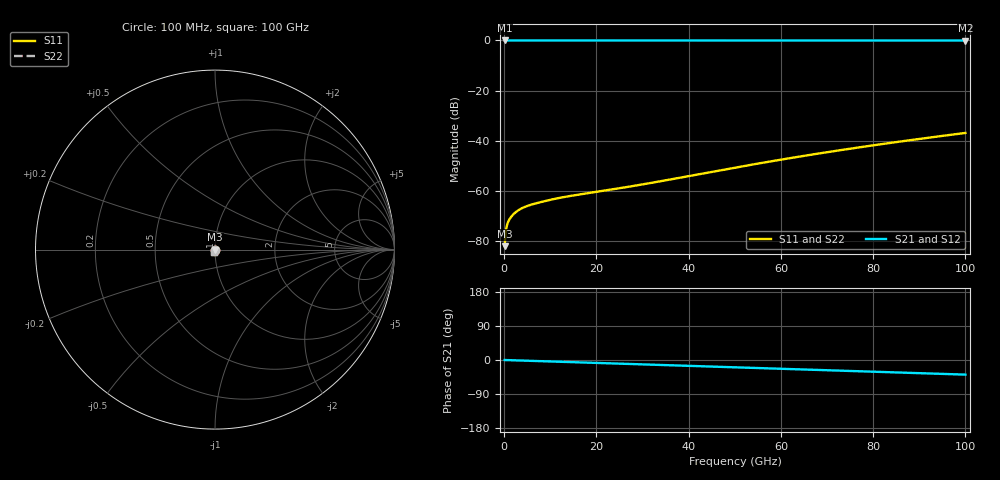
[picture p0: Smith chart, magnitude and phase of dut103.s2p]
! Touchstone file exported from HFSS 2026.1.0
!  File:  C:/ffzhzh/LocalFiles/Ansys_Project_Files/temp_train_TSV_103_1783505806_41296.aedt
!  Generated:  06:18:01 PM Jul  8, 2026
!  Design:  TSV
!  Project:  temp_train_TSV_103_1783505806_41296
! Variables:
!  h_bsmrdl = 2um
!  h_ox = 20um
!  h_rdl = 5um
!  h_sub = 73.85um
!  h_tmrdl = 5um
!  h_tsv = 73.85um
!  h_via = 3um
!  l_bsmrdl = 300um
!  l_sub = 428.56um
!  l_tmrdl = 200um
!  m_sub = 200um
!  pitch = 56.56um
!  r_tsv = 14.28um
!  s_tmrdl = 10um
!  w_bsmrdl = 18um
!  w_sub = 500um
!  w_tmrdl = 12um
!  x_tsv_center1 = 206um
!  x_tsv_center2 = 524um
!  x_tsv_center3 = 736um
!  x_tsv_center4 = 1054um
!  x_tsv_center5 = 1266um
!  x_tsv_center6 = 1584um
# GHz S MA R 50.000000
! Terminal data exported
! Port[1] = TSV1_1_T1
! Port[2] = TSV1_1_T2
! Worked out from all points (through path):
!   1000 points, 100 MHz to 100 GHz, reference 50 ohm
!   highest |S21| = 0.00 dB at 100 MHz (marker M1); lowest = 0.0 dB at 100 GHz (marker M2)
!   group delay of S21, straight-line fit = 1.07 ps
!   lowest |S11| = -81.9 dB at 100 MHz (marker M3), VSWR 1.00, Z = 50 + j0.00366 ohm
!   |S11| at or under -10 dB: start of sweep to end of sweep
!   |S22| runs from -81.9 to -36.8 dB; largest |S21 - S12| = 2.8e-15
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0.1  8.004e-05 27.2  0.9999 -0.0  0.9999 -0.0  8.004e-05 27.2
! Gamma 0 0 0 0
! Port Impedance 50 0 50 0
0.4  0.000166 41.9  0.9999 -0.2  0.9999 -0.2  0.000166 41.9
0.8  0.0002366 37.6  0.9998 -0.3  0.9998 -0.3  0.0002365 37.6
1  0.0002596 36.1  0.9998 -0.4  0.9998 -0.4  0.0002595 36.1
1.2  0.0002793 35.0  0.9998 -0.5  0.9998 -0.5  0.0002792 35.1
1.6  0.0003138 33.6  0.9997 -0.6  0.9997 -0.6  0.0003138 33.6
2.2  0.0003594 31.6  0.9997 -0.9  0.9997 -0.9  0.0003593 31.7
2.8  0.000399 29.5  0.9997 -1.1  0.9997 -1.1  0.0003989 29.5
3.5  0.0004384 27.0  0.9996 -1.4  0.9996 -1.4  0.0004383 27.0
4.3  0.0004763 24.1  0.9996 -1.7  0.9996 -1.7  0.0004761 24.1
5.3  0.0005161 20.8  0.9995 -2.0  0.9995 -2.0  0.0005158 20.8
8.2  0.0006125 12.1  0.9994 -3.2  0.9994 -3.2  0.000612 12.1
12.1  0.000735 0.7  0.9993 -4.7  0.9993 -4.7  0.0007336 0.7
16.8  0.0008702 -12.3  0.9991 -6.5  0.9991 -6.5  0.0008675 -12.3
25.8  0.001171 -35.2  0.9989 -9.9  0.9989 -9.9  0.001165 -35.3
33.4  0.001542 -51.9  0.9988 -12.8  0.9988 -12.8  0.001533 -52.2
50.1  0.002937 -79.7  0.9985 -19.2  0.9985 -19.2  0.002925 -80.1
58.6  0.004023 -89.9  0.9983 -22.5  0.9983 -22.5  0.00401 -90.4
66.7  0.005332 -98.0  0.9982 -25.6  0.9982 -25.6  0.005319 -98.4
74.9  0.006965 -104.9  0.998 -28.8  0.998 -28.8  0.006953 -105.4
83.4  0.009029 -111.2  0.9979 -32.1  0.9979 -32.1  0.009017 -111.7
100  0.01439 -122.1  0.9974 -38.6  0.9974 -38.6  0.01438 -122.5
